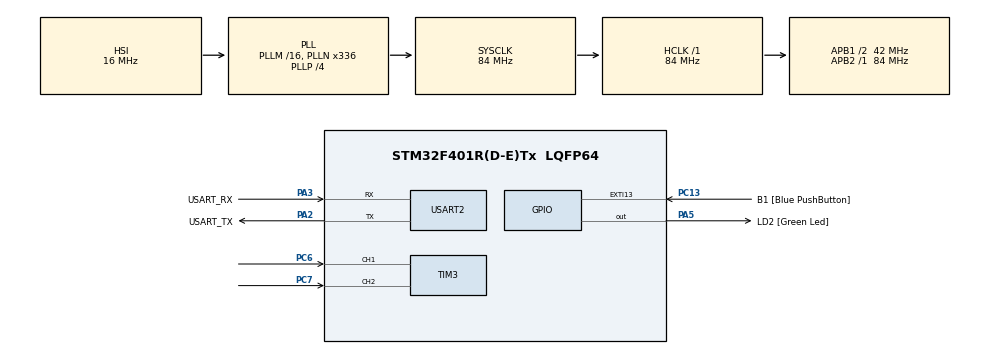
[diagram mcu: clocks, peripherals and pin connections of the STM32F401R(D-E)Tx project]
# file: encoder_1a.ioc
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Mcu.Family=STM32F4
Mcu.Name=STM32F401R(D-E)Tx
Mcu.Package=LQFP64
NVIC.PriorityGroup=NVIC_PRIORITYGROUP_0
NVIC.TIM2_IRQn=true\:0\:0\:false\:false\:true\:true\:true\:true
PA13.GPIO_Label=TMS
PA13.Mode=Serial_Wire
PA13.Signal=SYS_JTMS-SWDIO
PA14.GPIO_Label=TCK
PA14.Mode=Serial_Wire
PA14.Signal=SYS_JTCK-SWCLK
PA2.GPIO_Label=USART_TX
PA2.GPIO_Mode=GPIO_MODE_AF_PP
PA2.GPIO_PuPd=GPIO_NOPULL
PA2.GPIO_Speed=GPIO_SPEED_FREQ_LOW
PA2.Mode=Asynchronous
PA2.Signal=USART2_TX
PA3.GPIO_Label=USART_RX
PA3.GPIO_Mode=GPIO_MODE_AF_PP
PA3.GPIO_PuPd=GPIO_NOPULL
PA3.GPIO_Speed=GPIO_SPEED_FREQ_LOW
PA3.Mode=Asynchronous
PA3.Signal=USART2_RX
PA5.GPIO_Label=LD2 [Green Led]
PA5.GPIO_Mode=GPIO_MODE_OUTPUT_PP
PA5.GPIO_PuPd=GPIO_NOPULL
PA5.GPIO_Speed=GPIO_SPEED_FREQ_LOW
PA5.Signal=GPIO_Output
PC13-ANTI_TAMP.GPIO_Label=B1 [Blue PushButton]
PC13-ANTI_TAMP.GPIO_ModeDefaultEXTI=GPIO_MODE_IT_FALLING
PC13-ANTI_TAMP.GPIO_PuPd=GPIO_NOPULL
PC13-ANTI_TAMP.Signal=GPXTI13
PC14-OSC32_IN.Mode=LSE-External-Oscillator
PC14-OSC32_IN.Signal=RCC_OSC32_IN
PC15-OSC32_OUT.Mode=LSE-External-Oscillator
PC15-OSC32_OUT.Signal=RCC_OSC32_OUT
PC6.Signal=S_TIM3_CH1
PC7.Signal=S_TIM3_CH2
PH0\ -\ OSC_IN.Mode=HSE-External-Clock-Source
PH0\ -\ OSC_IN.Signal=RCC_OSC_IN
PH1\ -\ OSC_OUT.Mode=HSE-External-Clock-Source
PH1\ -\ OSC_OUT.Signal=RCC_OSC_OUT
ProjectManager.HeapSize=0x200
ProjectManager.StackSize=0x400
ProjectManager.TargetToolchain=STM32CubeIDE
RCC.48MHZClocksFreq_Value=48000000
RCC.AHBFreq_Value=84000000
RCC.APB1CLKDivider=RCC_HCLK_DIV2
RCC.APB1Freq_Value=42000000
RCC.APB1TimFreq_Value=84000000
RCC.APB2Freq_Value=84000000
RCC.APB2TimFreq_Value=84000000
RCC.CortexFreq_Value=84000000
RCC.HCLKFreq_Value=84000000
RCC.HSE_VALUE=8000000
RCC.HSI_VALUE=16000000
RCC.PLLN=336
RCC.PLLP=RCC_PLLP_DIV4
RCC.PLLQ=7
RCC.SYSCLKFreq_VALUE=84000000
RCC.SYSCLKSource=RCC_SYSCLKSOURCE_PLLCLK
RCC.VCOOutputFreq_Value=336000000
SH.S_TIM3_CH1.0=TIM3_CH1,Encoder_Interface
SH.S_TIM3_CH2.0=TIM3_CH2,Encoder_Interface
TIM2.AutoReloadPreload=TIM_AUTORELOAD_PRELOAD_ENABLE
TIM2.Period=1000000-1
TIM2.Prescaler=84-1
TIM3.ClockDivision=TIM_CLOCKDIVISION_DIV4
TIM3.IC1Filter=15
TIM3.IC2Filter=15
USART2.VirtualMode=VM_ASYNC
VP_TIM2_VS_ClockSourceINT.Mode=Internal
board=NUCLEO-F401RE

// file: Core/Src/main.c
/* USER CODE BEGIN Header */
/**
  ******************************************************************************
  * @file           : main.c
  * @brief          : Main program body
  ******************************************************************************
  * @attention
  *
  * Copyright (c) 2022 STMicroelectronics.
  * All rights reserved.
  *
  * This software is licensed under terms that can be found in the LICENSE file
  * in the root directory of this software component.
  * If no LICENSE file comes with this software, it is provided AS-IS.
  *
  ******************************************************************************
  */
/* USER CODE END Header */
#include "main.h"

/* USER CODE BEGIN Includes */
#include <string.h>
/* USER CODE END Includes */

TIM_HandleTypeDef htim2;
TIM_HandleTypeDef htim3;

UART_HandleTypeDef huart2;

void SystemClock_Config(void);
static void MX_GPIO_Init(void);
static void MX_USART2_UART_Init(void);
static void MX_TIM3_Init(void);
static void MX_TIM2_Init(void);

int main(void)
{

  /* MCU Configuration--------------------------------------------------------*/

  /* Reset of all peripherals, Initializes the Flash interface and the Systick. */
  HAL_Init();

  /* Configure the system clock */
  SystemClock_Config();

  /* Initialize all configured peripherals */
  MX_GPIO_Init();
  MX_USART2_UART_Init();
  MX_TIM3_Init();
  MX_TIM2_Init();
  /* USER CODE BEGIN 2 */
  HAL_TIM_Encoder_Start(&htim3, TIM_CHANNEL_ALL);
  uint16_t old_pos, new_pos;
  int delta;
  float speed;
  char string[32];

  /* USER CODE END 2 */

  /* Infinite loop */
  while (1)
  {

    /* USER CODE BEGIN 3 */
	old_pos = new_pos;
	new_pos = __HAL_TIM_GET_COUNTER(&htim3);
	delta = new_pos - old_pos;

	if(delta > 32768){
		  delta -= 65536;
	}else if(delta < -32768){
		  delta += 65536;
	}

	speed = (delta/24.0)*60;
	snprintf(string, 32, "rpm = %.3f\r\n", speed);
	HAL_UART_Transmit(&huart2, string, strlen(string), 100);
	HAL_Delay(1000);
  }
  /* USER CODE END 3 */
}

void SystemClock_Config(void)
{
  RCC_OscInitTypeDef RCC_OscInitStruct = {0};
  RCC_ClkInitTypeDef RCC_ClkInitStruct = {0};

  /** Configure the main internal regulator output voltage
  */
  __HAL_RCC_PWR_CLK_ENABLE();
  __HAL_PWR_VOLTAGESCALING_CONFIG(PWR_REGULATOR_VOLTAGE_SCALE2);

  /** Initializes the RCC Oscillators according to the specified parameters
  * in the RCC_OscInitTypeDef structure.
  */
  RCC_OscInitStruct.OscillatorType = RCC_OSCILLATORTYPE_HSI;
  RCC_OscInitStruct.HSIState = RCC_HSI_ON;
  RCC_OscInitStruct.HSICalibrationValue = RCC_HSICALIBRATION_DEFAULT;
  RCC_OscInitStruct.PLL.PLLState = RCC_PLL_ON;
  RCC_OscInitStruct.PLL.PLLSource = RCC_PLLSOURCE_HSI;
  RCC_OscInitStruct.PLL.PLLM = 16;
  RCC_OscInitStruct.PLL.PLLN = 336;
  RCC_OscInitStruct.PLL.PLLP = RCC_PLLP_DIV4;
  RCC_OscInitStruct.PLL.PLLQ = 7;
  if (HAL_RCC_OscConfig(&RCC_OscInitStruct) != HAL_OK)
  {
    Error_Handler();
  }

  /** Initializes the CPU, AHB and APB buses clocks
  */
  RCC_ClkInitStruct.ClockType = RCC_CLOCKTYPE_HCLK|RCC_CLOCKTYPE_SYSCLK
                              |RCC_CLOCKTYPE_PCLK1|RCC_CLOCKTYPE_PCLK2;
  RCC_ClkInitStruct.SYSCLKSource = RCC_SYSCLKSOURCE_PLLCLK;
  RCC_ClkInitStruct.AHBCLKDivider = RCC_SYSCLK_DIV1;
  RCC_ClkInitStruct.APB1CLKDivider = RCC_HCLK_DIV2;
  RCC_ClkInitStruct.APB2CLKDivider = RCC_HCLK_DIV1;

  if (HAL_RCC_ClockConfig(&RCC_ClkInitStruct, FLASH_LATENCY_2) != HAL_OK)
  {
    Error_Handler();
  }
}

static void MX_TIM2_Init(void)
{

  TIM_ClockConfigTypeDef sClockSourceConfig = {0};
  TIM_MasterConfigTypeDef sMasterConfig = {0};

  htim2.Instance = TIM2;
  htim2.Init.Prescaler = 84-1;
  htim2.Init.CounterMode = TIM_COUNTERMODE_UP;
  htim2.Init.Period = 1000000-1;
  htim2.Init.ClockDivision = TIM_CLOCKDIVISION_DIV1;
  htim2.Init.AutoReloadPreload = TIM_AUTORELOAD_PRELOAD_ENABLE;
  if (HAL_TIM_Base_Init(&htim2) != HAL_OK)
  {
    Error_Handler();
  }
  sClockSourceConfig.ClockSource = TIM_CLOCKSOURCE_INTERNAL;
  if (HAL_TIM_ConfigClockSource(&htim2, &sClockSourceConfig) != HAL_OK)
  {
    Error_Handler();
  }
  sMasterConfig.MasterOutputTrigger = TIM_TRGO_RESET;
  sMasterConfig.MasterSlaveMode = TIM_MASTERSLAVEMODE_DISABLE;
  if (HAL_TIMEx_MasterConfigSynchronization(&htim2, &sMasterConfig) != HAL_OK)
  {
    Error_Handler();
  }

}

static void MX_TIM3_Init(void)
{

  TIM_Encoder_InitTypeDef sConfig = {0};
  TIM_MasterConfigTypeDef sMasterConfig = {0};

  htim3.Instance = TIM3;
  htim3.Init.Prescaler = 0;
  htim3.Init.CounterMode = TIM_COUNTERMODE_UP;
  htim3.Init.Period = 65535;
  htim3.Init.ClockDivision = TIM_CLOCKDIVISION_DIV4;
  htim3.Init.AutoReloadPreload = TIM_AUTORELOAD_PRELOAD_DISABLE;
  sConfig.EncoderMode = TIM_ENCODERMODE_TI1;
  sConfig.IC1Polarity = TIM_ICPOLARITY_RISING;
  sConfig.IC1Selection = TIM_ICSELECTION_DIRECTTI;
  sConfig.IC1Prescaler = TIM_ICPSC_DIV1;
  sConfig.IC1Filter = 15;
  sConfig.IC2Polarity = TIM_ICPOLARITY_RISING;
  sConfig.IC2Selection = TIM_ICSELECTION_DIRECTTI;
  sConfig.IC2Prescaler = TIM_ICPSC_DIV1;
  sConfig.IC2Filter = 15;
  if (HAL_TIM_Encoder_Init(&htim3, &sConfig) != HAL_OK)
  {
    Error_Handler();
  }
  sMasterConfig.MasterOutputTrigger = TIM_TRGO_RESET;
  sMasterConfig.MasterSlaveMode = TIM_MASTERSLAVEMODE_DISABLE;
  if (HAL_TIMEx_MasterConfigSynchronization(&htim3, &sMasterConfig) != HAL_OK)
  {
    Error_Handler();
  }

}

static void MX_USART2_UART_Init(void)
{

  huart2.Instance = USART2;
  huart2.Init.BaudRate = 115200;
  huart2.Init.WordLength = UART_WORDLENGTH_8B;
  huart2.Init.StopBits = UART_STOPBITS_1;
  huart2.Init.Parity = UART_PARITY_NONE;
  huart2.Init.Mode = UART_MODE_TX_RX;
  huart2.Init.HwFlowCtl = UART_HWCONTROL_NONE;
  huart2.Init.OverSampling = UART_OVERSAMPLING_16;
  if (HAL_UART_Init(&huart2) != HAL_OK)
  {
    Error_Handler();
  }

}

static void MX_GPIO_Init(void)
{
  GPIO_InitTypeDef GPIO_InitStruct = {0};

  /* GPIO Ports Clock Enable */
  __HAL_RCC_GPIOC_CLK_ENABLE();
  __HAL_RCC_GPIOH_CLK_ENABLE();
  __HAL_RCC_GPIOA_CLK_ENABLE();

  /*Configure GPIO pin Output Level */
  HAL_GPIO_WritePin(LD2_GPIO_Port, LD2_Pin, GPIO_PIN_RESET);

  /*Configure GPIO pin : B1_Pin */
  GPIO_InitStruct.Pin = B1_Pin;
  GPIO_InitStruct.Mode = GPIO_MODE_IT_FALLING;
  GPIO_InitStruct.Pull = GPIO_NOPULL;
  HAL_GPIO_Init(B1_GPIO_Port, &GPIO_InitStruct);

  /*Configure GPIO pin : LD2_Pin */
  GPIO_InitStruct.Pin = LD2_Pin;
  GPIO_InitStruct.Mode = GPIO_MODE_OUTPUT_PP;
  GPIO_InitStruct.Pull = GPIO_NOPULL;
  GPIO_InitStruct.Speed = GPIO_SPEED_FREQ_LOW;
  HAL_GPIO_Init(LD2_GPIO_Port, &GPIO_InitStruct);

}

void Error_Handler(void)
{
  __disable_irq();
  while (1)
  {
  }
}
